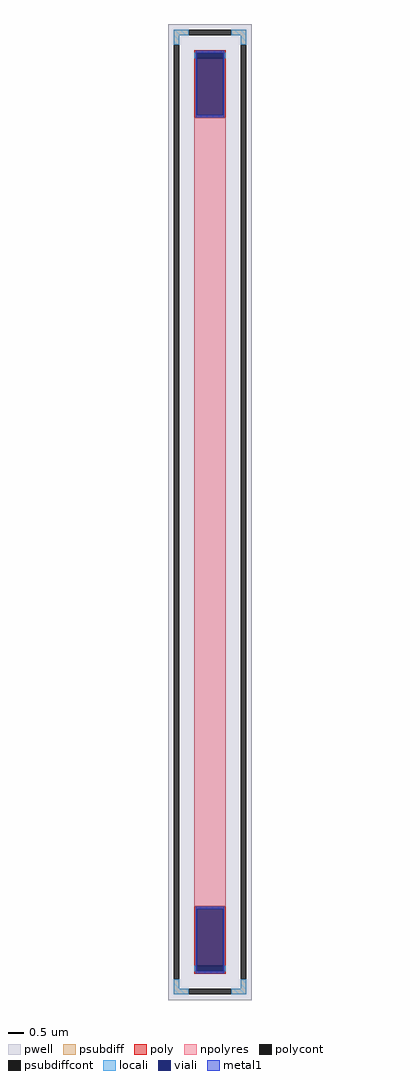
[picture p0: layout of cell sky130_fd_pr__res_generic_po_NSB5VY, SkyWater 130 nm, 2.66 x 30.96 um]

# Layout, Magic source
magic
tech sky130B
magscale 1 2
<< pwell >>
rect -266 -3096 266 3096
<< psubdiff >>
rect -230 3026 -134 3060
rect 134 3026 230 3060
rect -230 2964 -196 3026
rect 196 2964 230 3026
rect -230 -3026 -196 -2964
rect 196 -3026 230 -2964
rect -230 -3060 -134 -3026
rect 134 -3060 230 -3026
<< psubdiffcont >>
rect -134 3026 134 3060
rect -230 -2964 -196 2964
rect 196 -2964 230 2964
rect -134 -3060 134 -3026
<< poly >>
rect -100 2914 100 2930
rect -100 2880 -84 2914
rect 84 2880 100 2914
rect -100 2500 100 2880
rect -100 -2880 100 -2500
rect -100 -2914 -84 -2880
rect 84 -2914 100 -2880
rect -100 -2930 100 -2914
<< polycont >>
rect -84 2880 84 2914
rect -84 -2914 84 -2880
<< npolyres >>
rect -100 -2500 100 2500
<< locali >>
rect -230 3026 -134 3060
rect 134 3026 230 3060
rect -230 2964 -196 3026
rect 196 2964 230 3026
rect -100 2880 -84 2914
rect 84 2880 100 2914
rect -100 -2914 -84 -2880
rect 84 -2914 100 -2880
rect -230 -3026 -196 -2964
rect 196 -3026 230 -2964
rect -230 -3060 -134 -3026
rect 134 -3060 230 -3026
<< viali >>
rect -84 2880 84 2914
rect -84 2517 84 2880
rect -84 -2880 84 -2517
rect -84 -2914 84 -2880
<< metal1 >>
rect -90 2914 90 2926
rect -90 2517 -84 2914
rect 84 2517 90 2914
rect -90 2505 90 2517
rect -90 -2517 90 -2505
rect -90 -2914 -84 -2517
rect 84 -2914 90 -2517
rect -90 -2926 90 -2914
<< properties >>
string FIXED_BBOX -213 -3043 213 3043
string gencell sky130_fd_pr__res_generic_po
string library sky130
string parameters w 1.0 l 25.0 m 1 nx 1 wmin 0.330 lmin 1.650 rho 48.2 val 1.205k dummy 0 dw 0.0 term 0.0 sterm 0.0 caplen 0.4 snake 0 guard 1 glc 1 grc 1 gtc 1 gbc 1 roverlap 0 endcov 100 full_metal 1 hv_guard 0 n_guard 0 vias 1 viagb 0 viagt 0 viagl 0 viagr 0
<< end >>
